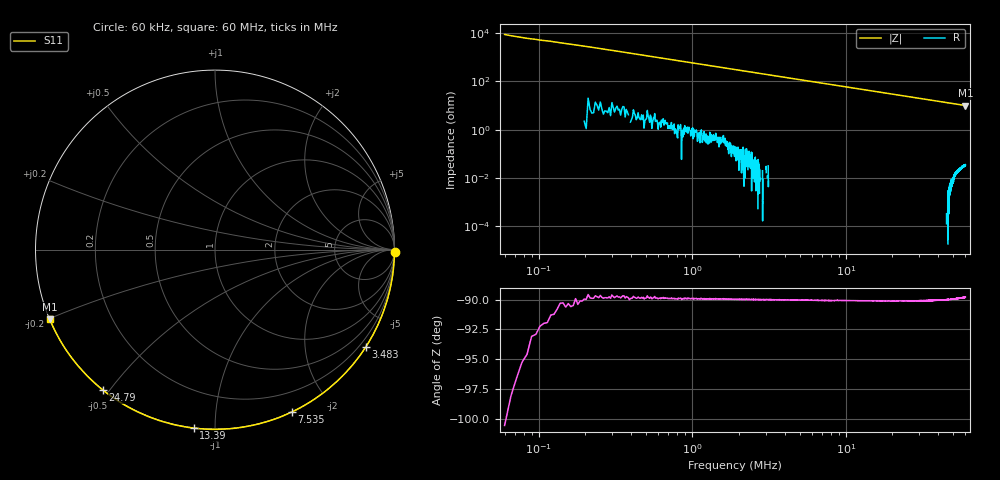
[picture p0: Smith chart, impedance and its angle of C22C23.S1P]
!Keysight Technologies,E5063A,MY54100949,A.07.30
!Date: Wed Dec 31 03:09:54 2025
!Data & Calibration Information:
!Freq	S11:RESPO(ON)
# Hz S RI R 50
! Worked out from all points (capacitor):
!   10001 points, 60 kHz to 60 MHz, reference 50 ohm
!   read as one part to ground: C = 269 pF near 359.7 kHz
!   lowest |Z| = 10.1 ohm at 60 MHz (marker M1)
!   S11 on the Smith chart (normalised r, x): 60 kHz: open; 3.483 MHz: -0.00, -3.41; 7.535 MHz: -0.00, -1.58; 13.39 MHz: -0.00, -0.89; 24.79 MHz: -0.00, -0.48; 60 MHz: 0.00, -0.20
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60000  1.002 -0.0111
323736  0.9982 -0.055
1019040  0.985 -0.1707
1726332  0.9585 -0.2849
2589468  0.9091 -0.4165
3482574  0.8416 -0.5404
4489566  0.7498 -0.662
5484570  0.6485 -0.7619
6491562  0.5402 -0.8427
7534518  0.4263 -0.9058
7552500  0.4243 -0.9068
8829222  0.2884 -0.9586
1.018387e7  0.1528 -0.9896
1.168836e7  0.0162 -1.001
1.339066e7  -0.1192 -0.9946
1.5045e7  -0.232 -0.9746
1.673531e7  -0.3299 -0.946
1.855149e7  -0.4184 -0.9103
2.045758e7  -0.4956 -0.8706
2.25375e7  -0.5649 -0.8271
2.478525e7  -0.6259 -0.7818
2.726677e7  -0.6802 -0.7348
3.003e7  -0.7285 -0.6867
3.349453e7  -0.7753 -0.6329
3.75225e7  -0.8163 -0.5788
4.5015e7  -0.8675 -0.4975
5.25075e7  -0.8994 -0.4355
6e7  -0.9205 -0.3873
